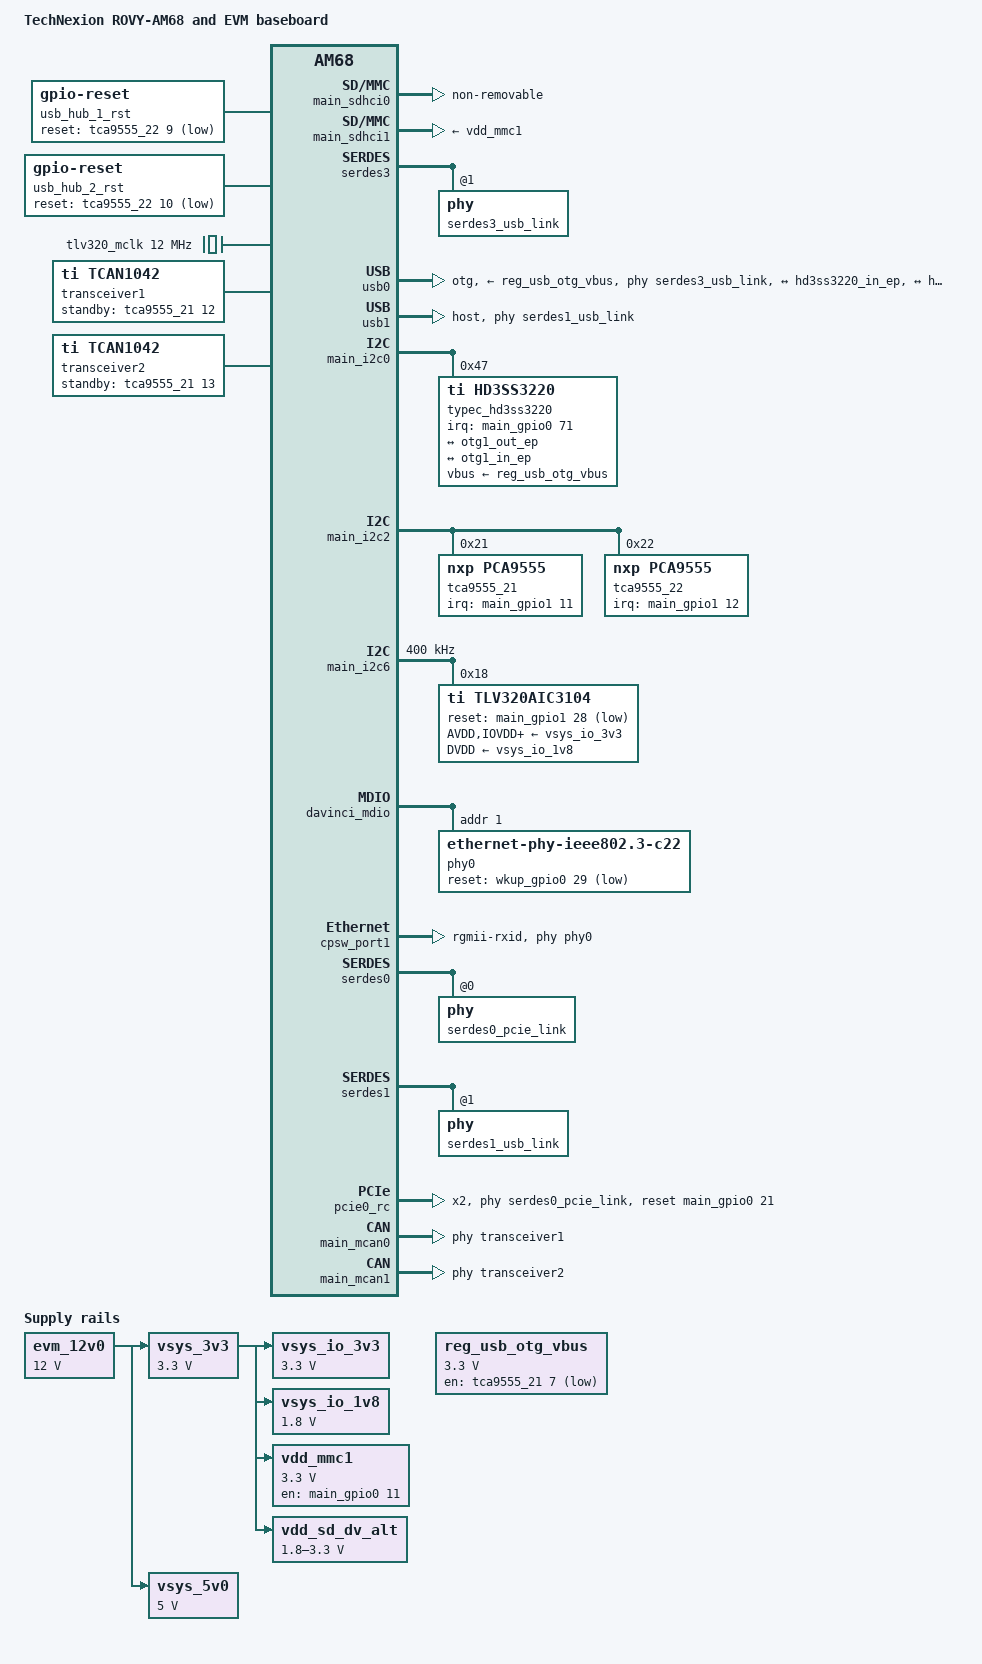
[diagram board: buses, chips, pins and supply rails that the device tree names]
// SPDX-License-Identifier: GPL-2.0
/*
 * Copyright (C) 2019 Texas Instruments Incorporated - https://www.ti.com/
 */

/dts-v1/;

#include "k3-j721e-rovy-am68.dtsi"
#include <dt-bindings/gpio/gpio.h>
#include <dt-bindings/input/input.h>
#include <dt-bindings/net/ti-dp83867.h>
#include <dt-bindings/phy/phy-cadence.h>

/ {
	model = "TechNexion ROVY-AM68 and EVM baseboard";

	chosen {
		stdout-path = "serial2:115200n8";
		bootargs = "console=ttyS2,115200n8 earlycon=ns16550a,mmio32,0x02800000";
	};

	usb_hub_1_rst: usb_hub_1_rst { /* Upstream HUB */
		compatible = "gpio-reset";
		reset-gpios = <&tca9555_22 9 GPIO_ACTIVE_LOW>;
		reset-delay-us = <10>;
		#reset-cells = <0>;
	};

	usb_hub_2_rst: usb_hub_2_rst { /* Downstream HUB which is connected to upstream HUB */
		compatible = "gpio-reset";
		reset-gpios = <&tca9555_22 10 GPIO_ACTIVE_LOW>;
		reset-delay-us = <10>;
		#reset-cells = <0>;
	};

	// gpio_keys: gpio-keys {
	// 	compatible = "gpio-keys";
	// 	autorepeat;
	// 	pinctrl-names = "default";
	// 	pinctrl-0 = <&sw10_button_pins_default &sw11_button_pins_default>;

	// 	sw10: sw10 {
	// 		label = "GPIO Key USER1";
	// 		linux,code = <BTN_0>;
	// 		gpios = <&main_gpio0 0 GPIO_ACTIVE_LOW>;
	// 	};

	// 	sw11: sw11 {
	// 		label = "GPIO Key USER2";
	// 		linux,code = <BTN_1>;
	// 		gpios = <&wkup_gpio0 7 GPIO_ACTIVE_LOW>;
	// 	};
	// };

	evm_12v0: fixedregulator-evm12v0 {
		/* main supply */
		compatible = "regulator-fixed";
		regulator-name = "evm_12v0";
		regulator-min-microvolt = <12000000>;
		regulator-max-microvolt = <12000000>;
		regulator-always-on;
		regulator-boot-on;
	};

	vsys_3v3: fixedregulator-vsys3v3 {
		/* Output of LM5176 */
		compatible = "regulator-fixed";
		regulator-name = "vsys_3v3";
		regulator-min-microvolt = <3300000>;
		regulator-max-microvolt = <3300000>;
		vin-supply = <&evm_12v0>;
		regulator-always-on;
		regulator-boot-on;
	};

	vsys_io_3v3: fixedregulator-vsysio3v3 {
		/* Output from SOM */
		compatible = "regulator-fixed";
		regulator-name = "vsys_io_3v3";
		regulator-min-microvolt = <3300000>;
		regulator-max-microvolt = <3300000>;
		vin-supply = <&vsys_3v3>;
		regulator-always-on;
		regulator-boot-on;
	};

	vsys_io_1v8: fixedregulator-vsysio1v8 {
		/* Output from SOM(TPS659411 LDO3) */
		compatible = "regulator-fixed";
		regulator-name = "vsys_io_1v8";
		regulator-min-microvolt = <1800000>;
		regulator-max-microvolt = <1800000>;
		vin-supply = <&vsys_3v3>;
		regulator-always-on;
		regulator-boot-on;
	};

	vsys_5v0: fixedregulator-vsys5v0 {
		/* Output of LM5176 */
		compatible = "regulator-fixed";
		regulator-name = "vsys_5v0";
		regulator-min-microvolt = <5000000>;
		regulator-max-microvolt = <5000000>;
		vin-supply = <&evm_12v0>;
		regulator-always-on;
		regulator-boot-on;
	};

	vdd_mmc1: fixedregulator-sd {
		compatible = "regulator-fixed";
		regulator-name = "vdd_mmc1";
		pinctrl-names = "default";
		pinctrl-0 = <&vdd_mmc1_en_pins_default>;
		regulator-min-microvolt = <3300000>;
		regulator-max-microvolt = <3300000>;
		regulator-boot-on;
		enable-active-high;
		vin-supply = <&vsys_3v3>;
		gpio = <&main_gpio0 11 GPIO_ACTIVE_HIGH>;
	};

	vdd_sd_dv_alt: gpio-regulator-tps659411 {
		compatible = "regulator-gpio";
		pinctrl-names = "default";
		pinctrl-0 = <&vdd_sd_dv_alt_pins_default>;
		regulator-name = "tps659411";
		regulator-min-microvolt = <1800000>;
		regulator-max-microvolt = <3300000>;
		regulator-boot-on;
		vin-supply = <&vsys_3v3>;
		gpios = <&main_gpio0 96 GPIO_ACTIVE_HIGH>;
		states = <1800000 0x0>,
			 <3300000 0x1>;
	};

	reg_usb_otg_vbus: usb_otg_vbus {
		compatible = "regulator-fixed";
		regulator-name = "usb_otg_vbus";
		regulator-min-microvolt = <3300000>;
		regulator-max-microvolt = <3300000>;
		gpio = <&tca9555_21 7 GPIO_ACTIVE_LOW>;
		enable-active-low;
	};

	tlv320_mclk: clk-0 {
		#clock-cells = <0>;
		compatible = "fixed-clock";
		clock-frequency = <12000000>;
	};

	sound {
		compatible = "simple-audio-card";
		simple-audio-card,name = "tlv320aic31xx-audio";
		simple-audio-card,widgets =
			"Headphone", "Headphone Jack",
			"Microphone", "Mic Jack";
		simple-audio-card,routing =
			"Headphone Jack", "HPLOUT",
			"Headphone Jack", "HPROUT",
			"MIC2L", "Mic Jack",
			"MIC2R", "Mic Jack",
			"Mic Jack", "Mic Bias";
		simple-audio-card,format = "dsp_b";
		simple-audio-card,bitclock-master = <&sound_master>;
		simple-audio-card,frame-master = <&sound_master>;
		simple-audio-card,bitclock-inversion;

		simple-audio-card,cpu {
		//sound_master:simple-audio-card,cpu {
			sound-dai = <&mcasp6>;
		};

		sound_master: simple-audio-card,codec {
		//simple-audio-card,codec {
			sound-dai = <&tlv320aic3104>;
			clocks = <&tlv320_mclk>;
		};
	};

	cpsw9g_virt_mac: main_r5fss_cpsw9g_virt_mac0 {
		compatible = "ti,j721e-cpsw-virt-mac";
		dma-coherent;
		ti,psil-base = <0x4a00>;
		ti,remote-name = "mpu_1_0_ethswitch-device-0";
		dmas = <&main_udmap 0xca00>,
		       <&main_udmap 0xca01>,
		       <&main_udmap 0xca02>,
		       <&main_udmap 0xca03>,
		       <&main_udmap 0xca04>,
		       <&main_udmap 0xca05>,
		       <&main_udmap 0xca06>,
		       <&main_udmap 0xca07>,
		       <&main_udmap 0x4a00>;
		dma-names = "tx0", "tx1", "tx2", "tx3",
			    "tx4", "tx5", "tx6", "tx7",
			    "rx";
		virt_emac_port {
			ti,label = "virt-port";
			/* local-mac-address = [0 0 0 0 0 0]; */
		};
	};

	cpsw9g_virt_maconly: main-r5fss-cpsw9g-virt-mac1 {
		compatible = "ti,j721e-cpsw-virt-mac";
		dma-coherent;
		ti,psil-base = <0x4a00>;
		ti,remote-name = "mpu_1_0_ethmac-device-1";
		dmas = <&main_udmap 0xca00>,
		       <&main_udmap 0xca01>,
		       <&main_udmap 0xca02>,
		       <&main_udmap 0xca03>,
		       <&main_udmap 0xca04>,
		       <&main_udmap 0xca05>,
		       <&main_udmap 0xca06>,
		       <&main_udmap 0xca07>,
		       <&main_udmap 0x4a00>;
		dma-names = "tx0", "tx1", "tx2", "tx3",
			    "tx4", "tx5", "tx6", "tx7",
			    "rx";

		virt_emac_port {
			ti,label = "virt-port";
			/* local-mac-address = [0 0 0 0 0 0]; */
		};
	};

	transceiver1: can-phy0 { /* SOC_CAN_A */
		compatible = "ti,tcan1042"; /* tcan1462 */
		#phy-cells = <0>;
		max-bitrate = <5000000>;
		standby-gpios = <&tca9555_21 12 GPIO_ACTIVE_HIGH>;
	};

	transceiver2: can-phy1 { /* SOC_CAN_B */
		compatible = "ti,tcan1042"; /* tcan1462 */
		#phy-cells = <0>;
		max-bitrate = <5000000>;
		standby-gpios = <&tca9555_21 13 GPIO_ACTIVE_HIGH>;
	};
};

&main_pmx0 {
	sw10_button_pins_default: sw10-button-pins-default {
		pinctrl-single,pins = <
			J721E_IOPAD(0x0, PIN_INPUT, 7) /* (AC18) EXTINTn.GPIO0_0 */
		>;
	};

	main_mmc1_pins_default: main-mmc1-pins-default {
		pinctrl-single,pins = <
			J721E_IOPAD(0x254, PIN_INPUT, 0) /* (R29) MMC1_CMD */
			J721E_IOPAD(0x250, PIN_INPUT, 0) /* (P25) MMC1_CLK */
			J721E_IOPAD(0x2ac, PIN_INPUT, 0) /* (P25) MMC1_CLKLB */
			J721E_IOPAD(0x24c, PIN_INPUT, 0) /* (R24) MMC1_DAT0 */
			J721E_IOPAD(0x248, PIN_INPUT, 0) /* (P24) MMC1_DAT1 */
			J721E_IOPAD(0x244, PIN_INPUT, 0) /* (R25) MMC1_DAT2 */
			J721E_IOPAD(0x240, PIN_INPUT, 0) /* (R26) MMC1_DAT3 */
			J721E_IOPAD(0x258, PIN_INPUT, 0) /* (P23) MMC1_SDCD */
			J721E_IOPAD(0x25c, PIN_INPUT, 0) /* (R28) MMC1_SDWP */
		>;
	};

	vdd_mmc1_en_pins_default: vdd-mmc1-en-pins-default {
		pinctrl-single,pins = <
			J721E_IOPAD(0x2c, PIN_OUTPUT, 7) /* (AD21) PRG1_PRU0_GPIO10.GPIO0_11 */
		>;
	};

	vdd_sd_dv_alt_pins_default: vdd-sd-dv-alt-pins-default {
		pinctrl-single,pins = <
			J721E_IOPAD(0x184, PIN_OUTPUT, 7) /* (T23) RGMII5_RD0.GPIO0_96 */
		>;
	};

	typec_hd3ss3220_irq_pins_default: typec-hd3ss3220-irq-pins-default {
		pinctrl-single,pins = <
			J721E_IOPAD(0x120, PIN_INPUT, 7) /* (AA28) PRG0_PRU1_GPO8.GPIO0_71 */
		>;
	};

	main_usbss0_pins_default: main-usbss0-pins-default {
		pinctrl-single,pins = <
			J721E_IOPAD(0x17c, PIN_INPUT, 7) /* (U24) RGMII5_RD2.GPIO0_94 */
		>;
	};

	dp0_pins_default: dp0-pins-default {
		pinctrl-single,pins = <
			J721E_IOPAD(0x1c4, PIN_INPUT, 5) /* SPI0_CS1.DP0_HPD */
		>;
	};

	tca9555_21_irq_pins_default: tca9555-21-irq-pins-default {
		pinctrl-single,pins = <
			J721E_IOPAD(0x230, PIN_INPUT, 7) /* (U2) ECAP0_IN_APWM_OUT.GPIO1_11 */
		>;
	};

	tca9555_22_irq_pins_default: tca9555-22-irq-pins-default {
		pinctrl-single,pins = <
			J721E_IOPAD(0x234, PIN_INPUT, 7) /* (U3) EXT_REFCLK1.GPIO1_12 */
		>;
	};

	audi_ext_refclk2_pins_default: audi-ext-refclk2-pins-default {
		pinctrl-single,pins = <
			J721E_IOPAD(0x1a4, PIN_OUTPUT, 3) /* (W26) RGMII6_RXC.AUDIO_EXT_REFCLK2 */
		>;
	};

	main_mcan0_pins_default: main-mcan0-pins-default {
		pinctrl-single,pins = <
			J721E_IOPAD(0x208, PIN_INPUT, 0) /* (W5) MCAN0_RX */
			J721E_IOPAD(0x20c, PIN_OUTPUT, 0) /* (W6) MCAN0_TX */
		>;
	};

	main_mcan1_pins_default: main-mcan1-pins-default {
		pinctrl-single,pins = <
			J721E_IOPAD(0x210, PIN_INPUT, 0) /* (W3) MCAN1_RX */
			J721E_IOPAD(0x214, PIN_OUTPUT, 0) /* (V4) MCAN1_TX */
		>;
	};

	main_mcan4_pins_default: main-mcan4-pins-default {
		pinctrl-single,pins = <
			J721E_IOPAD(0x24, PIN_INPUT, 6) /* (AJ20) PRG1_PRU0_GPO8.MCAN4_RX */
			J721E_IOPAD(0x20, PIN_OUTPUT, 6) /* (AE20) PRG1_PRU0_GPO7.MCAN4_TX */
		>;
	};

	main_mcan5_pins_default: main-mcan5-pins-default {
		pinctrl-single,pins = <
			J721E_IOPAD(0x50, PIN_INPUT, 6) /* (AE21) PRG1_PRU0_GPO18.MCAN5_RX */
			J721E_IOPAD(0x4c, PIN_OUTPUT, 6) /* (AJ21) PRG1_PRU0_GPO17.MCAN5_TX */
		>;
	};

	main_mcan6_pins_default: main-mcan6-pins-default {
		pinctrl-single,pins = <
			J721E_IOPAD(0x44, PIN_INPUT, 6) /* (AE24) PRG1_PRU0_GPO16.MCAN6_RX */
			J721E_IOPAD(0x40, PIN_OUTPUT, 6) /* (AC24) PRG1_PRU0_GPO15.MCAN6_TX */
		>;
	};

	main_mcan7_pins_default: main-mcan7-pins-default {
		pinctrl-single,pins = <
			J721E_IOPAD(0x8c, PIN_INPUT, 6) /* (AG25) PRG1_PRU1_GPO13.MCAN7_RX */
			J721E_IOPAD(0x88, PIN_OUTPUT, 6) /* (AH25) PRG1_PRU1_GPO12.MCAN7_TX */
		>;
	};

	main_mcan8_pins_default: main-mcan8-pins-default {
		pinctrl-single,pins = <
			J721E_IOPAD(0x94, PIN_INPUT, 6) /* (AJ27) PRG1_PRU1_GPO15.MCAN8_RX */
			J721E_IOPAD(0x90, PIN_OUTPUT, 6) /* (AH26) PRG1_PRU1_GPO14.MCAN8_TX */
		>;
	};

	main_mcan9_pins_default: main-mcan9-pins-default {
		pinctrl-single,pins = <
			J721E_IOPAD(0xd0, PIN_INPUT, 6) /* (AC27) PRG0_PRU0_GPO8.MCAN9_RX */
			J721E_IOPAD(0xcc, PIN_OUTPUT, 6) /* (AC28) PRG0_PRU0_GPO7.MCAN9_TX */
		>;
	};

	main_aud_rst_pins_default: main-aud-rst-pins-default {
		pinctrl-single,pins = <
			J721E_IOPAD(0x274, PIN_OUTPUT, 7) /* (T25) MMC2_CMD.GPIO1_28 */
		>;
	};

	main_pcie_keym_rst_pins_default: main-pcie-keym-rst-pins-default {
		pinctrl-single,pins = <
			J721E_IOPAD(0x58, PIN_OUTPUT, 7) /* (AE22) PRG1_PRU1_GPO0.GPIO0_21 */
			J721E_IOPAD(0x5c, PIN_INPUT, 7) /* (AG23) PRG1_PRU1_GPO1.GPIO0_22 */
		>;
	};
};

&wkup_pmx0 {
	mcu_rgmii_phy_reset: mcu_rgmii_phy_reset {
		pinctrl-single,pins = <
			J721E_WKUP_IOPAD(0x34, PIN_OUTPUT, 7) /* (F22) MCU_OSPI1_CLK.WKUP_GPIO0_29 */
		>;
	};

	sw11_button_pins_default: sw11-button-pins-default {
		pinctrl-single,pins = <
			J721E_WKUP_IOPAD(0xcc, PIN_INPUT, 7) /* (G28) WKUP_GPIO0_7 */
		>;
	};

	mcu_cpsw_pins_default: mcu-cpsw-pins-default {
		pinctrl-single,pins = <
			J721E_WKUP_IOPAD(0x0058, PIN_OUTPUT, 0) /* MCU_RGMII1_TX_CTL */
			J721E_WKUP_IOPAD(0x005c, PIN_INPUT, 0) /* MCU_RGMII1_RX_CTL */
			J721E_WKUP_IOPAD(0x0060, PIN_OUTPUT, 0) /* MCU_RGMII1_TD3 */
			J721E_WKUP_IOPAD(0x0064, PIN_OUTPUT, 0) /* MCU_RGMII1_TD2 */
			J721E_WKUP_IOPAD(0x0068, PIN_OUTPUT, 0) /* MCU_RGMII1_TD1 */
			J721E_WKUP_IOPAD(0x006c, PIN_OUTPUT, 0) /* MCU_RGMII1_TD0 */
			J721E_WKUP_IOPAD(0x0078, PIN_INPUT, 0) /* MCU_RGMII1_RD3 */
			J721E_WKUP_IOPAD(0x007c, PIN_INPUT, 0) /* MCU_RGMII1_RD2 */
			J721E_WKUP_IOPAD(0x0080, PIN_INPUT, 0) /* MCU_RGMII1_RD1 */
			J721E_WKUP_IOPAD(0x0084, PIN_INPUT, 0) /* MCU_RGMII1_RD0 */
			J721E_WKUP_IOPAD(0x0070, PIN_OUTPUT, 0) /* MCU_RGMII1_TXC */
			J721E_WKUP_IOPAD(0x0074, PIN_INPUT, 0) /* MCU_RGMII1_RXC */
		>;
	};

	mcu_mdio_pins_default: mcu-mdio1-pins-default {
		pinctrl-single,pins = <
			J721E_WKUP_IOPAD(0x008c, PIN_OUTPUT, 0) /* MCU_MDIO0_MDC */
			J721E_WKUP_IOPAD(0x0088, PIN_INPUT, 0) /* MCU_MDIO0_MDIO */
		>;
	};
};

&wkup_uart0 {
	/* Wakeup UART is used by System firmware */
	status = "reserved";
};

&main_uart0 {
	power-domains = <&k3_pds 146 TI_SCI_PD_SHARED>;
};

&main_uart3 {
	/* UART not brought out */
	status = "disabled";
};

&main_uart5 {
	/* UART not brought out */
	status = "disabled";
};

&main_uart6 {
	/* UART not brought out */
	status = "disabled";
};

&main_uart7 {
	/* UART not brought out */
	status = "disabled";
};

&main_uart8 {
	/* UART not brought out */
	status = "disabled";
};

&main_uart9 {
	/* UART not brought out */
	status = "disabled";
};

&main_gpio2 {
	status = "disabled";
};

&main_gpio3 {
	status = "disabled";
};

&main_gpio4 {
	status = "disabled";
};

&main_gpio5 {
	status = "disabled";
};

&main_gpio6 {
	status = "disabled";
};

&main_gpio7 {
	status = "disabled";
};

&wkup_gpio1 {
	status = "disabled";
};

&main_sdhci0 {
	/* eMMC */
	non-removable;
	ti,driver-strength-ohm = <50>;
	disable-wp;
};

&main_sdhci1 {
	/* SD/MMC */
	vmmc-supply = <&vdd_mmc1>;
	vqmmc-supply = <&vdd_sd_dv_alt>;
	pinctrl-names = "default";
	pinctrl-0 = <&main_mmc1_pins_default>;
	ti,driver-strength-ohm = <50>;
	disable-wp;
};

&main_sdhci2 {
	/* Unused */
	status = "disabled";
};

&usb_serdes_mux {
	idle-states = <1>, <0>; /* USB0 to SERDES3, USB1 to SERDES1 */
};

&serdes_ln_ctrl {
	idle-states = <J721E_SERDES0_LANE0_PCIE0_LANE0>, <J721E_SERDES0_LANE1_PCIE0_LANE1>,
		      <J721E_SERDES1_LANE0_PCIE1_LANE0>, <J721E_SERDES1_LANE1_USB3_1>,
		      <J721E_SERDES2_LANE0_PCIE2_LANE0>, <J721E_SERDES2_LANE1_PCIE2_LANE1>,
		      <J721E_SERDES3_LANE0_PCIE3_LANE0>, <J721E_SERDES3_LANE1_USB3_0>,
		      <J721E_SERDES4_LANE0_QSGMII_LANE5>, <J721E_SERDES4_LANE1_QSGMII_LANE6>,
		      <J721E_SERDES4_LANE2_QSGMII_LANE7>, <J721E_SERDES4_LANE3_QSGMII_LANE8>;
};

// &serdes_wiz3 {
// 	typec-dir-gpios = <&main_gpio1 3 GPIO_ACTIVE_HIGH>;
// 	typec-dir-debounce-ms = <700>;	/* TUSB321, tCCB_DEFAULT 133 ms */
// };

&serdes3 {
	serdes3_usb_link: phy@1 {
		reg = <1>;
		cdns,num-lanes = <1>;
		#phy-cells = <0>;
		cdns,phy-type = <PHY_TYPE_USB3>;
		resets = <&serdes_wiz3 2>;
	};
};

&usbss0 {
	pinctrl-names = "default";
	pinctrl-0 = <&main_usbss0_pins_default>;
	ti,vbus-divider;
};

&usb0 {
	dr_mode = "otg";
	maximum-speed = "super-speed";
	phys = <&serdes3_usb_link>;
	phy-names = "cdns3,usb3-phy";
	power-active-low;
	vbus-supply = <&reg_usb_otg_vbus>;

	ports {
		#address-cells = <1>;
		#size-cells = <0>;

		port@0 {
			reg = <0>;
			otg1_out_ep: endpoint {
				remote-endpoint = <&hd3ss3220_in_ep>;
			};
		};

		port@1 {
			reg = <1>;
			otg1_in_ep: endpoint {
				remote-endpoint = <&hd3ss3220_out_ep>;
			};
		};
	};
};

&usb1 {
	dr_mode = "host";
	maximum-speed = "super-speed";
	phys = <&serdes1_usb_link>;
	phy-names = "cdns3,usb3-phy";
};

&tscadc0 {
	adc {
		ti,adc-channels = <0 1 2 3 4 5 6 7>;
	};
};

&main_i2c0 { /* I2C_A */
	typec_hd3ss3220: hd3ss3220@47 {
		compatible = "ti,hd3ss3220";
		interrupt-parent = <&main_gpio0>;
		interrupts = <71 IRQ_TYPE_LEVEL_LOW>;
		pinctrl-names = "default";
		pinctrl-0 = <&typec_hd3ss3220_irq_pins_default>;
		vbus-supply = <&reg_usb_otg_vbus>;
		reg = <0x47>;

		ports {
			#address-cells = <1>;
			#size-cells = <0>;

			port@0 {
				reg = <0>;
				hd3ss3220_in_ep: endpoint {
					remote-endpoint = <&otg1_out_ep>;
				};
			};

			port@1 {
				reg = <1>;
				hd3ss3220_out_ep: endpoint {
					remote-endpoint = <&otg1_in_ep>;
				};
			};
		};
	};
};

&main_i2c2 { /* I2C_C */
	tca9555_21: tca9555_21@21 {
		compatible = "nxp,pca9555";
		reg =<0x21>;
		gpio-controller;
		#gpio-cells = <2>;
		pinctrl-names = "default";
		pinctrl-0 = <&tca9555_21_irq_pins_default>;
		interrupt-parent = <&main_gpio1>;
		interrupts = <11 IRQ_TYPE_EDGE_FALLING>;
		interrupt-controller;
		#interrupt-cells = <2>;
		status = "okay";
	};

	tca9555_22: tca9555_22@22 {
		compatible = "nxp,pca9555";
		reg =<0x22>;
		gpio-controller;
		#gpio-cells = <2>;
		pinctrl-names = "default";
		pinctrl-0 = <&tca9555_22_irq_pins_default>;
		interrupt-parent = <&main_gpio1>;
		interrupts = <12 IRQ_TYPE_EDGE_FALLING>;
		interrupt-controller;
		#interrupt-cells = <2>;
		status = "okay";
	};
};

&main_i2c6 { /* I2C_F */
	clock-frequency = <400000>;
	tlv320aic3104: tlv320aic3104@18 {
		#sound-dai-cells = <0>;
		compatible = "ti,tlv320aic3104"; /* ti,tlv320aic3x */
		reg = <0x18>;
		pinctrl-names = "default";
		pinctrl-0 = <&main_aud_rst_pins_default>;
		reset-gpios = <&main_gpio1 28 GPIO_ACTIVE_LOW>;
		ai3x-ocmv = <0>;
		ai3x-micbias-vg = <1>;		/* 2.0V */

		 /* Regulators */
		AVDD-supply = <&vsys_io_3v3>;
		IOVDD-supply = <&vsys_io_3v3>;
		DRVDD-supply = <&vsys_io_3v3>;
		DVDD-supply = <&vsys_io_1v8>;
	};
};


&k3_clks {
	/* Confiure AUDIO_EXT_REFCLK2 pin as output */
	pinctrl-names = "default";
	pinctrl-0 = <&audi_ext_refclk2_pins_default>;
};

&mcu_cpsw {
	pinctrl-names = "default";
	pinctrl-0 = <&mcu_cpsw_pins_default &mcu_mdio_pins_default>;
};

&davinci_mdio {
	phy0: ethernet-phy@0 {
		pinctrl-names = "default";
		pinctrl-0 = <&mcu_rgmii_phy_reset>;
		reg = <1>;
		compatible = "ethernet-phy-ieee802.3-c22";
		rtl821x,aldps-disable;
		rtl821x,clkout-disable;
		reset-gpios = <&wkup_gpio0 29 GPIO_ACTIVE_LOW>;
		reset-assert-us = <35000>;
		reset-deassert-us = <75000>;
	};
};

&cpsw_port1 {
	phy-mode = "rgmii-rxid";
	phy-handle = <&phy0>;
};

&dss {
	/*
	 * These clock assignments are chosen to enable the following outputs:
	 *
	 * VP0 - DisplayPort SST
	 * VP1 - DPI0
	 * VP2 - DSI
	 * VP3 - DPI1
	 */

	assigned-clocks = <&k3_clks 152 1>,
			  <&k3_clks 152 4>,
			  <&k3_clks 152 9>,
			  <&k3_clks 152 13>;
	assigned-clock-parents = <&k3_clks 152 2>,	/* PLL16_HSDIV0 */
				 <&k3_clks 152 6>,	/* PLL19_HSDIV0 */
				 <&k3_clks 152 11>,	/* PLL18_HSDIV0 */
				 <&k3_clks 152 18>;	/* PLL23_HSDIV0 */
};

&cmn_refclk1 {
	clock-frequency = <100000000>;
};

&wiz0_pll1_refclk {
	assigned-clocks = <&wiz0_pll1_refclk>;
	assigned-clock-parents = <&cmn_refclk1>;
};

&wiz0_refclk_dig {
	assigned-clocks = <&wiz0_refclk_dig>;
	assigned-clock-parents = <&cmn_refclk1>;
};

&wiz1_pll1_refclk {
	assigned-clocks = <&wiz1_pll1_refclk>;
	assigned-clock-parents = <&cmn_refclk1>;
};

&wiz1_refclk_dig {
	assigned-clocks = <&wiz1_refclk_dig>;
	assigned-clock-parents = <&cmn_refclk1>;
};

&wiz2_pll1_refclk {
	assigned-clocks = <&wiz2_pll1_refclk>;
	assigned-clock-parents = <&cmn_refclk1>;
};

&wiz2_refclk_dig {
	assigned-clocks = <&wiz2_refclk_dig>;
	assigned-clock-parents = <&cmn_refclk1>;
};

&cmn_refclk1 {
	clock-frequency = <100000000>;
};

&serdes0 {
	serdes0_pcie_link: phy@0 {
		reg = <0>;
		cdns,num-lanes = <2>;
		#phy-cells = <0>;
		cdns,phy-type = <PHY_TYPE_PCIE>;
		resets = <&serdes_wiz0 1>, <&serdes_wiz0 2>;
	};
};

&serdes1 {
	//assigned-clocks = <&serdes1 CDNS_SIERRA_PLL_CMNLC>;
	//assigned-clock-parents = <&wiz1_pll1_refclk>;

	serdes1_pcie_link: phy@0 {
		reg = <0>;
		cdns,num-lanes = <1>;
		#phy-cells = <0>;
		cdns,phy-type = <PHY_TYPE_PCIE>;
		resets = <&serdes_wiz1 1>;
		status="disabled";
	};

	serdes1_usb_link: phy@1 {
		reg = <1>;
		cdns,num-lanes = <1>;
		#phy-cells = <0>;
		cdns,phy-type = <PHY_TYPE_USB3>;
		resets = <&serdes_wiz1 2>;
	};
};

&serdes2 {
	assigned-clocks = <&serdes2 CDNS_SIERRA_PLL_CMNLC>;
	assigned-clock-parents = <&wiz2_pll1_refclk>;

	serdes2_pcie_link: phy@0 {
		reg = <0>;
		cdns,num-lanes = <2>;
		#phy-cells = <0>;
		cdns,phy-type = <PHY_TYPE_PCIE>;
		resets = <&serdes_wiz2 1>, <&serdes_wiz2 2>;
		status="disabled";
	};
};

&pcie0_rc {
	pinctrl-names = "default";
	pinctrl-0 = <&main_pcie_keym_rst_pins_default>;
	reset-gpios = <&main_gpio0 21 GPIO_ACTIVE_HIGH>;
	phys = <&serdes0_pcie_link>;
	phy-names = "pcie-phy";
	num-lanes = <2>;
};

&pcie1_rc {
	phys = <&serdes1_pcie_link>;
	phy-names = "pcie-phy";
	num-lanes = <1>;
	status="disabled";
};

&pcie2_rc {
	phys = <&serdes2_pcie_link>;
	phy-names = "pcie-phy";
	num-lanes = <2>;
	status="disabled";
};

&pcie0_ep {
	phys = <&serdes0_pcie_link>;
	phy-names = "pcie-phy";
	num-lanes = <2>;
	status = "disabled";
};

&pcie1_ep {
	phys = <&serdes1_pcie_link>;
	phy-names = "pcie-phy";
	num-lanes = <1>;
	status = "disabled";
};

&pcie2_ep {
	phys = <&serdes2_pcie_link>;
	phy-names = "pcie-phy";
	num-lanes = <2>;
	status = "disabled";
};

&pcie3_rc {
	status = "disabled";
};

&pcie3_ep {
	status = "disabled";
};

/* uart2 assigned to cpsw9g eth-switch fw running on remote CPU core */
&main_uart2 {
	status = "disabled";
};

&mcu_mcan0 {
	status = "disabled";
};

&mcu_mcan1 {
	status = "disabled";
};

/* SOC_CAN_A */
&main_mcan0 {	
	pinctrl-names = "default";
	pinctrl-0 = <&main_mcan0_pins_default>;
	phys = <&transceiver1>;
};

/* SOC_CAN_B */
&main_mcan1 {
	pinctrl-names = "default";
	pinctrl-0 = <&main_mcan1_pins_default>;
	phys = <&transceiver2>;
};

&main_mcan2 {
	status = "disabled";
};

&main_mcan3 {
	status = "disabled";
};

/* SOC_CAN_C */
&main_mcan4 {
	pinctrl-names = "default";
	pinctrl-0 = <&main_mcan4_pins_default>;
};

/* SOC_CAN_D */
&main_mcan5 {
	pinctrl-names = "default";
	pinctrl-0 = <&main_mcan5_pins_default>;
};

/* SOC_CAN_E */
&main_mcan6 {
	pinctrl-names = "default";
	pinctrl-0 = <&main_mcan6_pins_default>;
};

/* SOC_CAN_F */
&main_mcan7 {
	pinctrl-names = "default";
	pinctrl-0 = <&main_mcan7_pins_default>;
};

/* SOC_CAN_G */
&main_mcan8 {
	pinctrl-names = "default";
	pinctrl-0 = <&main_mcan8_pins_default>;
};

/* SOC_CAN_H */
&main_mcan9 {
	pinctrl-names = "default";
	pinctrl-0 = <&main_mcan9_pins_default>;
};

&main_mcan10 {
	status = "disabled";
};

&main_mcan11 {
	status = "disabled";
};

&main_mcan12 {
	status = "disabled";
};

&main_mcan13 {
	status = "disabled";
};

&csi0_port0 {
	status = "disabled";
};

&csi0_port1 {
	status = "disabled";
};

&csi0_port2 {
	status = "disabled";
};

&csi0_port3 {
	status = "disabled";
};

&csi0_port4 {
	status = "disabled";
};

&csi1_port0 {
	status = "disabled";
};

&csi1_port1 {
	status = "disabled";
};

&csi1_port2 {
	status = "disabled";
};

&csi1_port3 {
	status = "disabled";
};

&csi1_port4 {
	status = "disabled";
};

&main_ehrpwm0 {
	status = "disabled";
};

&main_ehrpwm1 {
	status = "disabled";
};

&main_ehrpwm2 {
	status = "disabled";
};

&main_ehrpwm3 {
	status = "disabled";
};

&main_ehrpwm4 {
	status = "disabled";
};

&main_ehrpwm5 {
	status = "disabled";
};
